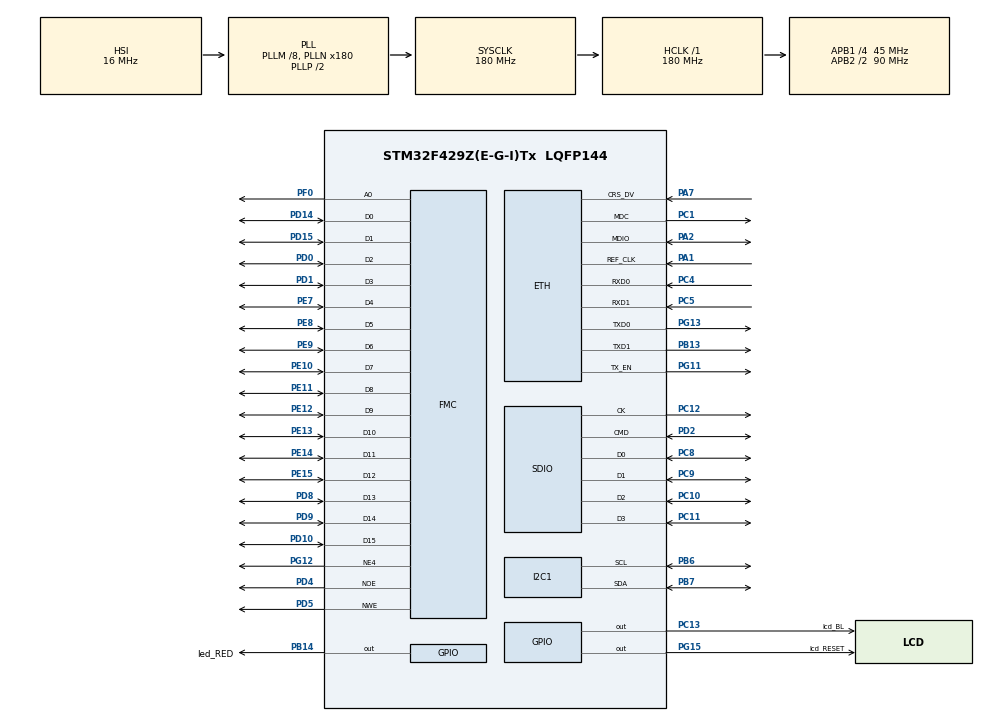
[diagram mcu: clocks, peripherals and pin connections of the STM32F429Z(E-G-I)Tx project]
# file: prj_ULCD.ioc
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ETH.MediaInterface=ETH_MEDIA_INTERFACE_RMII
ETH.PhyAddress=0
FATFS._USE_BUFF_WO_ALIGNMENT=2
FATFS._USE_ERASE=0
FMC.AccessMode1=FMC_ACCESS_MODE_A
FMC.AddressSetupTime1=14
FMC.AsynchronousWait1=FMC_ASYNCHRONOUS_WAIT_DISABLE
FMC.BurstAccessMode1=FMC_BURST_ACCESS_MODE_DISABLE
FMC.BusTurnAroundDuration1=14
FMC.CLKDivision1=16
FMC.ContinuousClock1=FMC_CONTINUOUS_CLOCK_SYNC_ONLY
FMC.DataAddressMux1=FMC_DATA_ADDRESS_MUX_DISABLE
FMC.DataLatency1=17
FMC.DataSetupTime1=14
FMC.Extended=FMC_NORSRAM_EXTENDED_DEVICE
FMC.NORSRAM_Instance=FMC_NORSRAM_DEVICE
FMC.NSCoherentPinout1=MEMORY_PINOUT_OK
FMC.NSMemoryDataWidth1=FMC_NORSRAM_MEM_BUS_WIDTH_16
FMC.PageSize1=FMC_PAGE_SIZE_NONE
FMC.WaitSignal1=FMC_WAIT_SIGNAL_DISABLE
FMC.WaitSignalActive1=FMC_WAIT_TIMING_BEFORE_WS
FMC.WaitSignalPolarity1=FMC_WAIT_SIGNAL_POLARITY_LOW
FMC.WrapMode1=FMC_WRAP_MODE_DISABLE
FMC.WriteBurst1=FMC_WRITE_BURST_DISABLE
FREERTOS.HEAP_NUMBER=2
FREERTOS.MEMORY_ALLOCATION=0
FREERTOS.Tasks01=defaultTask,0,128,StartDefaultTask,Default,NULL,Dynamic,NULL,NULL
FREERTOS.configLIBRARY_MAX_SYSCALL_INTERRUPT_PRIORITY=3
FREERTOS.configMINIMAL_STACK_SIZE=64
FREERTOS.configTOTAL_HEAP_SIZE=50000
FREERTOS.configUSE_ALTERNATIVE_API=0
I2C1.DutyCycle=I2C_DUTYCYCLE_2
LWIP.GATEWAY_ADDRESS=192.168.000.001
LWIP.IP_ADDRESS=192.168.000.200
LWIP.LWIP_DBG_OFF=0x00U
LWIP.LWIP_DBG_ON=0x80U
LWIP.LWIP_DHCP=0
LWIP.LWIP_FIONREAD_LINUXMODE=0
LWIP.LWIP_NETCONN=1
LWIP.LWIP_NETCONN_FULLDUPLEX=0
LWIP.LWIP_NETCONN_SEM_PER_THREAD=0
LWIP.LWIP_POSIX_SOCKETS_IO_NAMES=0
LWIP.LWIP_SOCKET_SET_ERRNO=0
LWIP.LWIP_SO_LINGER=0
LWIP.LWIP_SO_RCVBUF=0
LWIP.LWIP_SO_RCVTIMEO=0
LWIP.LWIP_SO_SNDRCVTIMEO_NONSTANDARD=0
LWIP.LWIP_SO_SNDTIMEO=0
LWIP.LWIP_TCPIP_TIMEOUT=0
LWIP.LWIP_TCP_KEEPALIVE=0
LWIP.NETMASK_ADDRESS=255.255.255.000
LWIP.SO_REUSE=0
LWIP.SO_REUSE_RXTOALL=0
LWIP.Version=v2.0.0_Cube
Mcu.Family=STM32F4
Mcu.Name=STM32F429Z(E-G-I)Tx
Mcu.Package=LQFP144
Mcu.UserConstants=LWIP_TIMEVAL_PRIVATE,0
NVIC.ETH_IRQn=true\:3\:0\:false\:false\:true\:true
NVIC.PriorityGroup=NVIC_PRIORITYGROUP_4
PA1.Mode=RMII
PA1.Signal=ETH_REF_CLK
PA13.Mode=Serial_Wire
PA13.Signal=SYS_JTMS-SWDIO
PA14.Mode=Serial_Wire
PA14.Signal=SYS_JTCK-SWCLK
PA2.Mode=RMII
PA2.Signal=ETH_MDIO
PA7.Mode=RMII
PA7.Signal=ETH_CRS_DV
PB13.Mode=RMII
PB13.Signal=ETH_TXD1
PB14.GPIO_Label=led_RED
PB14.GPIO_Speed=GPIO_SPEED_FREQ_MEDIUM
PB14.Signal=GPIO_Output
PB6.Mode=I2C
PB6.Signal=I2C1_SCL
PB7.Mode=I2C
PB7.Signal=I2C1_SDA
PC1.Mode=RMII
PC1.Signal=ETH_MDC
PC10.Mode=SD_4_bits_Wide_bus
PC10.Signal=SDIO_D2
PC11.Mode=SD_4_bits_Wide_bus
PC11.Signal=SDIO_D3
PC12.Mode=SD_4_bits_Wide_bus
PC12.Signal=SDIO_CK
PC13.GPIO_Label=lcd_BL
PC13.GPIO_PuPd=GPIO_PULLDOWN
PC13.Signal=GPIO_Output
PC14/OSC32_IN.Mode=LSE-External-Oscillator
PC14/OSC32_IN.Signal=RCC_OSC32_IN
PC15/OSC32_OUT.Mode=LSE-External-Oscillator
PC15/OSC32_OUT.Signal=RCC_OSC32_OUT
PC4.Mode=RMII
PC4.Signal=ETH_RXD0
PC5.Mode=RMII
PC5.Signal=ETH_RXD1
PC8.Mode=SD_4_bits_Wide_bus
PC8.Signal=SDIO_D0
PC9.Mode=SD_4_bits_Wide_bus
PC9.Signal=SDIO_D1
PD0.Signal=FMC_D2_DA2
PD1.Signal=FMC_D3_DA3
PD10.Signal=FMC_D15_DA15
PD14.Signal=FMC_D0_DA0
PD15.Signal=FMC_D1_DA1
PD2.Mode=SD_4_bits_Wide_bus
PD2.Signal=SDIO_CMD
PD4.Signal=FMC_NOE
PD5.Signal=FMC_NWE
PD8.Signal=FMC_D13_DA13
PD9.Signal=FMC_D14_DA14
PE10.Signal=FMC_D7_DA7
PE11.Signal=FMC_D8_DA8
PE12.Signal=FMC_D9_DA9
PE13.Signal=FMC_D10_DA10
PE14.Signal=FMC_D11_DA11
PE15.Signal=FMC_D12_DA12
PE7.Signal=FMC_D4_DA4
PE8.Signal=FMC_D5_DA5
PE9.Signal=FMC_D6_DA6
PF0.Signal=FMC_A0
PG11.Mode=RMII
PG11.Signal=ETH_TX_EN
PG12.Mode=NorPsramChipSelect4_1
PG12.Signal=FMC_NE4
PG13.Mode=RMII
PG13.Signal=ETH_TXD0
PG15.GPIO_Label=lcd_RESET
PG15.GPIO_PuPd=GPIO_PULLDOWN
PG15.GPIO_Speed=GPIO_SPEED_FREQ_HIGH
PG15.Signal=GPIO_Output
PH0/OSC_IN.Mode=HSE-External-Oscillator
PH0/OSC_IN.Signal=RCC_OSC_IN
PH1/OSC_OUT.Mode=HSE-External-Oscillator
PH1/OSC_OUT.Signal=RCC_OSC_OUT
ProjectManager.HeapSize=0x200
ProjectManager.StackSize=0x400
ProjectManager.TargetToolchain=SW4STM32
RCC.48MHZClocksFreq_Value=45000000
RCC.AHBCLKDivider=RCC_SYSCLK_DIV1
RCC.AHBFreq_Value=180000000
RCC.APB1CLKDivider=RCC_HCLK_DIV4
RCC.APB1Freq_Value=45000000
RCC.APB1TimFreq_Value=90000000
RCC.APB2CLKDivider=RCC_HCLK_DIV2
RCC.APB2Freq_Value=90000000
RCC.APB2TimFreq_Value=180000000
RCC.ClockTypeHCLK=RCC_CLOCKTYPE_HCLK
RCC.ClockTypePCLK1=RCC_CLOCKTYPE_PCLK1
RCC.ClockTypePCLK2=RCC_CLOCKTYPE_PCLK2
RCC.ClockTypeSysClk=RCC_CLOCKTYPE_SYSCLK
RCC.CortexFreq_Value=180000000
RCC.Cortex_Div=SYSTICK_CLKSOURCE_HCLK
RCC.EnableExtClockForI2S=false
RCC.EnableExtClockForSAIA=false
RCC.EnableExtClockForSAIB=false
RCC.EnableHSE=true
RCC.EnableHSERTCDevisor=false
RCC.EnableLSE=true
RCC.EnableLSERTC=false
RCC.ExtClockEnable=false
RCC.HCLKFreq_Value=180000000
RCC.HSEState=RCC_HSE_ON
RCC.HSE_VALUE=25000000
RCC.HSIState=RCC_HSI_ON
RCC.HSI_VALUE=16000000
RCC.I2SEnable=false
RCC.IWDGEnable=false
RCC.LSEState=RCC_LSE_ON
RCC.LSIState=RCC_LSI_OFF
RCC.LTDCEnable=false
RCC.MCO1OutPutEnable=false
RCC.MCO2OutPutEnable=false
RCC.OscillatorTypeHSI=RCC_OSCILLATORTYPE_HSI
RCC.PLLI2SCLKSAIA_BEnable=false
RCC.PLLM=8
RCC.PLLN=180
RCC.PLLP=RCC_PLLP_DIV2
RCC.PLLQ=8
RCC.PLLSAIDivR=RCC_PLLSAIDIVR_2
RCC.PLLSource=RCC_PLLSOURCE_HSI
RCC.PLLSourceVirtual=RCC_PLLSOURCE_HSI
RCC.PLLState=RCC_PLL_ON
RCC.RCC_MCODiv1=RCC_MCODIV_1
RCC.RCC_MCODiv2=RCC_MCODIV_1
RCC.RCC_PERIPHCLK_LTDCVar=RCC_PERIPHCLK_LTDC
RCC.RCC_RTC_Clock_Source_FROM_HSE=RCC_RTCCLKSOURCE_HSE_DIV2
RCC.RNGEnable=false
RCC.RTCEnable=false
RCC.SAIAEnable=false
RCC.SAIBEnable=false
RCC.SDIOEnable=true
RCC.SYSCLKFreq_VALUE=180000000
RCC.SYSCLKSource=RCC_SYSCLKSOURCE_PLLCLK
RCC.USBFSEnable=false
RCC.USBHSEnable=false
RCC.VCOOutputFreq_Value=360000000
SDIO.BusWide=SDIO_BUS_WIDE_1B
SDIO.ClockBypass=SDIO_CLOCK_BYPASS_DISABLE
SDIO.ClockEdge=SDIO_CLOCK_EDGE_RISING
SDIO.ClockPowerSave=SDIO_CLOCK_POWER_SAVE_DISABLE
SDIO.HardwareFlowControl=SDIO_HARDWARE_FLOW_CONTROL_DISABLE
SDIO.WideMode=SDIO_BUS_WIDE_4B
SH.FMC_A0.0=FMC_A0,A0_1
SH.FMC_D0_DA0.0=FMC_D0,16b-d1
SH.FMC_D10_DA10.0=FMC_D10,16b-d1
SH.FMC_D11_DA11.0=FMC_D11,16b-d1
SH.FMC_D12_DA12.0=FMC_D12,16b-d1
SH.FMC_D13_DA13.0=FMC_D13,16b-d1
SH.FMC_D14_DA14.0=FMC_D14,16b-d1
SH.FMC_D15_DA15.0=FMC_D15,16b-d1
SH.FMC_D1_DA1.0=FMC_D1,16b-d1
SH.FMC_D2_DA2.0=FMC_D2,16b-d1
SH.FMC_D3_DA3.0=FMC_D3,16b-d1
SH.FMC_D4_DA4.0=FMC_D4,16b-d1
SH.FMC_D5_DA5.0=FMC_D5,16b-d1
SH.FMC_D6_DA6.0=FMC_D6,16b-d1
SH.FMC_D7_DA7.0=FMC_D7,16b-d1
SH.FMC_D8_DA8.0=FMC_D8,16b-d1
SH.FMC_D9_DA9.0=FMC_D9,16b-d1
SH.FMC_NOE.0=FMC_NOE,Lcd1
SH.FMC_NWE.0=FMC_NWE,Lcd1
VP_FATFS_VS_SDIO.Mode=SDIO
VP_FREERTOS_VS_ENABLE.Mode=Enabled
VP_LWIP_VS_Enabled.Mode=Enabled
board=prj_ULCD

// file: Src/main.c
/**
  ******************************************************************************
  * File Name          : main.c
  * Description        : Main program body
  ******************************************************************************
  *
  * Copyright (c) 2017 STMicroelectronics International N.V.
  * All rights reserved.
  *
  * Redistribution and use in source and binary forms, with or without
  * modification, are permitted, provided that the following conditions are met:
  *
  * 1. Redistribution of source code must retain the above copyright notice,
  *    this list of conditions and the following disclaimer.
  * 2. Redistributions in binary form must reproduce the above copyright notice,
  *    this list of conditions and the following disclaimer in the documentation
  *    and/or other materials provided with the distribution.
  * 3. Neither the name of STMicroelectronics nor the names of other
  *    contributors to this software may be used to endorse or promote products
  *    derived from this software without specific written permission.
  * 4. This software, including modifications and/or derivative works of this
  *    software, must execute solely and exclusively on microcontroller or
  *    microprocessor devices manufactured by or for STMicroelectronics.
  * 5. Redistribution and use of this software other than as permitted under
  *    this license is void and will automatically terminate your rights under
  *    this license.
  *
  * THIS SOFTWARE IS PROVIDED BY STMICROELECTRONICS AND CONTRIBUTORS "AS IS"
  * AND ANY EXPRESS, IMPLIED OR STATUTORY WARRANTIES, INCLUDING, BUT NOT
  * LIMITED TO, THE IMPLIED WARRANTIES OF MERCHANTABILITY, FITNESS FOR A
  * PARTICULAR PURPOSE AND NON-INFRINGEMENT OF THIRD PARTY INTELLECTUAL PROPERTY
  * RIGHTS ARE DISCLAIMED TO THE FULLEST EXTENT PERMITTED BY LAW. IN NO EVENT
  * SHALL STMICROELECTRONICS OR CONTRIBUTORS BE LIABLE FOR ANY DIRECT, INDIRECT,
  * INCIDENTAL, SPECIAL, EXEMPLARY, OR CONSEQUENTIAL DAMAGES (INCLUDING, BUT NOT
  * LIMITED TO, PROCUREMENT OF SUBSTITUTE GOODS OR SERVICES; LOSS OF USE, DATA,
  * OR PROFITS; OR BUSINESS INTERRUPTION) HOWEVER CAUSED AND ON ANY THEORY OF
  * LIABILITY, WHETHER IN CONTRACT, STRICT LIABILITY, OR TORT (INCLUDING
  * NEGLIGENCE OR OTHERWISE) ARISING IN ANY WAY OUT OF THE USE OF THIS SOFTWARE,
  * EVEN IF ADVISED OF THE POSSIBILITY OF SUCH DAMAGE.
  *
  ******************************************************************************
  */
#include "main.h"
#include "stm32f4xx_hal.h"
#include "cmsis_os.h"
#include "fatfs.h"
#include "i2c.h"
#include "lwip.h"
#include "sdio.h"
#include "gpio.h"
#include "fmc.h"

/* USER CODE BEGIN Includes */
#include "lcd_rm68120_drv.h"
#include "lcd_low_layer.h"
#include "lcd_fonts.h"
/* USER CODE END Includes */

/* USER CODE BEGIN PV */
/* Private variables ---------------------------------------------------------*/

/* USER CODE END PV */

void SystemClock_Config(void);
void Error_Handler(void);
void MX_FREERTOS_Init(void);

/* USER CODE BEGIN PFP */
/* Private function prototypes -----------------------------------------------*/

/* USER CODE END PFP */

int main(void)
{

  /* MCU Configuration----------------------------------------------------------*/

  /* Reset of all peripherals, Initializes the Flash interface and the Systick. */
  HAL_Init();

  /* Configure the system clock */
  SystemClock_Config();

  /* Initialize all configured peripherals */
  MX_GPIO_Init();
  MX_FMC_Init();
  MX_I2C1_Init();
  MX_SDIO_SD_Init();

  /* USER CODE BEGIN 2 */
  HAL_GPIO_WritePin(lcd_BL_GPIO_Port,lcd_BL_Pin,GPIO_PIN_SET);
  lcdInit();
  Put_Str_to_Lcd(10,10,Eng,"Hello", BLACK,WHITE);
  /* USER CODE END 2 */

  /* Call init function for freertos objects (in freertos.c) */
  MX_FREERTOS_Init();

  /* Start scheduler */
  osKernelStart();

  /* We should never get here as control is now taken by the scheduler */

  /* Infinite loop */
  while (1)
  {

  }

}

/** System Clock Configuration
*/
void SystemClock_Config(void)
{

  RCC_OscInitTypeDef RCC_OscInitStruct;
  RCC_ClkInitTypeDef RCC_ClkInitStruct;

    /**Configure the main internal regulator output voltage
    */
  __HAL_RCC_PWR_CLK_ENABLE();

  __HAL_PWR_VOLTAGESCALING_CONFIG(PWR_REGULATOR_VOLTAGE_SCALE1);

    /**Initializes the CPU, AHB and APB busses clocks
    */
  RCC_OscInitStruct.OscillatorType = RCC_OSCILLATORTYPE_HSI;
  RCC_OscInitStruct.HSIState = RCC_HSI_ON;
  RCC_OscInitStruct.HSICalibrationValue = 16;
  RCC_OscInitStruct.PLL.PLLState = RCC_PLL_ON;
  RCC_OscInitStruct.PLL.PLLSource = RCC_PLLSOURCE_HSI;
  RCC_OscInitStruct.PLL.PLLM = 8;
  RCC_OscInitStruct.PLL.PLLN = 180;
  RCC_OscInitStruct.PLL.PLLP = RCC_PLLP_DIV2;
  RCC_OscInitStruct.PLL.PLLQ = 8;
  if (HAL_RCC_OscConfig(&RCC_OscInitStruct) != HAL_OK)
  {
    Error_Handler();
  }

    /**Activate the Over-Drive mode
    */
  if (HAL_PWREx_EnableOverDrive() != HAL_OK)
  {
    Error_Handler();
  }

    /**Initializes the CPU, AHB and APB busses clocks
    */
  RCC_ClkInitStruct.ClockType = RCC_CLOCKTYPE_HCLK|RCC_CLOCKTYPE_SYSCLK
                              |RCC_CLOCKTYPE_PCLK1|RCC_CLOCKTYPE_PCLK2;
  RCC_ClkInitStruct.SYSCLKSource = RCC_SYSCLKSOURCE_PLLCLK;
  RCC_ClkInitStruct.AHBCLKDivider = RCC_SYSCLK_DIV1;
  RCC_ClkInitStruct.APB1CLKDivider = RCC_HCLK_DIV4;
  RCC_ClkInitStruct.APB2CLKDivider = RCC_HCLK_DIV2;

  if (HAL_RCC_ClockConfig(&RCC_ClkInitStruct, FLASH_LATENCY_5) != HAL_OK)
  {
    Error_Handler();
  }

    /**Configure the Systick interrupt time
    */
  HAL_SYSTICK_Config(HAL_RCC_GetHCLKFreq()/1000);

    /**Configure the Systick
    */
  HAL_SYSTICK_CLKSourceConfig(SYSTICK_CLKSOURCE_HCLK);

  /* SysTick_IRQn interrupt configuration */
  HAL_NVIC_SetPriority(SysTick_IRQn, 15, 0);
}

void Error_Handler(void)
{
  while(1)
  {
  }
}

/************************ (C) COPYRIGHT STMicroelectronics *****END OF FILE****/

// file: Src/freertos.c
/**
 ******************************************************************************
 * File Name          : freertos.c
 * Description        : Code for freertos applications
 ******************************************************************************
 *
 * Copyright (c) 2017 STMicroelectronics International N.V.
 * All rights reserved.
 *
 * Redistribution and use in source and binary forms, with or without
 * modification, are permitted, provided that the following conditions are met:
 *
 * 1. Redistribution of source code must retain the above copyright notice,
 *    this list of conditions and the following disclaimer.
 * 2. Redistributions in binary form must reproduce the above copyright notice,
 *    this list of conditions and the following disclaimer in the documentation
 *    and/or other materials provided with the distribution.
 * 3. Neither the name of STMicroelectronics nor the names of other
 *    contributors to this software may be used to endorse or promote products
 *    derived from this software without specific written permission.
 * 4. This software, including modifications and/or derivative works of this
 *    software, must execute solely and exclusively on microcontroller or
 *    microprocessor devices manufactured by or for STMicroelectronics.
 * 5. Redistribution and use of this software other than as permitted under
 *    this license is void and will automatically terminate your rights under
 *    this license.
 *
 * THIS SOFTWARE IS PROVIDED BY STMICROELECTRONICS AND CONTRIBUTORS "AS IS"
 * AND ANY EXPRESS, IMPLIED OR STATUTORY WARRANTIES, INCLUDING, BUT NOT
 * LIMITED TO, THE IMPLIED WARRANTIES OF MERCHANTABILITY, FITNESS FOR A
 * PARTICULAR PURPOSE AND NON-INFRINGEMENT OF THIRD PARTY INTELLECTUAL PROPERTY
 * RIGHTS ARE DISCLAIMED TO THE FULLEST EXTENT PERMITTED BY LAW. IN NO EVENT
 * SHALL STMICROELECTRONICS OR CONTRIBUTORS BE LIABLE FOR ANY DIRECT, INDIRECT,
 * INCIDENTAL, SPECIAL, EXEMPLARY, OR CONSEQUENTIAL DAMAGES (INCLUDING, BUT NOT
 * LIMITED TO, PROCUREMENT OF SUBSTITUTE GOODS OR SERVICES; LOSS OF USE, DATA,
 * OR PROFITS; OR BUSINESS INTERRUPTION) HOWEVER CAUSED AND ON ANY THEORY OF
 * LIABILITY, WHETHER IN CONTRACT, STRICT LIABILITY, OR TORT (INCLUDING
 * NEGLIGENCE OR OTHERWISE) ARISING IN ANY WAY OUT OF THE USE OF THIS SOFTWARE,
 * EVEN IF ADVISED OF THE POSSIBILITY OF SUCH DAMAGE.
 *
 ******************************************************************************
 */

#include "FreeRTOS.h"
#include "task.h"
#include "cmsis_os.h"

/* USER CODE BEGIN Includes */
#include "fatfs.h"
#include "httpserver.h"
//#include "sdcard_HandlerTask.h"
#include "lcd_rm68120_drv.h"
#include "lcd_low_layer.h"
#include "lcd_fonts.h"
/* USER CODE END Includes */

osThreadId defaultTaskHandle;

/* USER CODE BEGIN Variables */

FATFS fileSystem;
FIL testFile;
uint8_t testBuffer[16] = "SD write success";
UINT testBytes;
FRESULT res;

osThreadId sdcardTaskHandle;

/* USER CODE END Variables */

void StartDefaultTask(void const * argument);

extern void MX_LWIP_Init(void);
extern void MX_FATFS_Init(void);
void MX_FREERTOS_Init(void); /* (MISRA C 2004 rule 8.1) */

/* USER CODE BEGIN FunctionPrototypes */
void sdcard_memory_thread(void const * argument);
/* USER CODE END FunctionPrototypes */

/* Hook prototypes */

/* Init FreeRTOS */

void MX_FREERTOS_Init(void) {

	/* Create the thread(s) */
	/* definition and creation of defaultTask */
	osThreadDef(defaultTask, StartDefaultTask, osPriorityNormal, 0, 128);
	defaultTaskHandle = osThreadCreate(osThread(defaultTask), NULL);

	/* USER CODE BEGIN RTOS_THREADS */
	osThreadDef(sdcard_memory_handler, sdcard_memory_thread, osPriorityLow, 0, 1280);
	sdcardTaskHandle = osThreadCreate(osThread(sdcard_memory_handler), NULL);
	/* USER CODE END RTOS_THREADS */

}

/* StartDefaultTask function */
void StartDefaultTask(void const * argument)
{
	/* init code for LWIP */
	MX_LWIP_Init();

	/* init code for FATFS */
	MX_FATFS_Init();

	/* USER CODE BEGIN StartDefaultTask */

	//sdcard_memory_thread_init();
	http_server_netconn_init();
	Put_Str_to_Lcd(10,100,Eng,"http server is run", BLACK,WHITE);
	/* Infinite loop */
	for(;;)
	{
		osDelay(1);
	}
	/* USER CODE END StartDefaultTask */
}

/* USER CODE BEGIN Application */

void sdcard_memory_thread(void const * argument)
{
	do
	{
		if(f_mount(&fileSystem, (const TCHAR*)SD_Path, 1) == FR_OK)
		{
			HAL_GPIO_WritePin(led_RED_GPIO_Port,led_RED_Pin,GPIO_PIN_SET);
			char path[13] = "testfile.txt";
			path[12] = '\0';
			res = f_open(&testFile, (const TCHAR*)path, FA_WRITE | FA_CREATE_ALWAYS);
			res = f_write(&testFile, testBuffer, 16, &testBytes);
			res = f_close(&testFile);
			HAL_GPIO_WritePin(led_RED_GPIO_Port,led_RED_Pin,GPIO_PIN_RESET);
		}
		osDelay(2000);
	}
	while(1);
}

/* USER CODE END Application */

/************************ (C) COPYRIGHT STMicroelectronics *****END OF FILE****/
